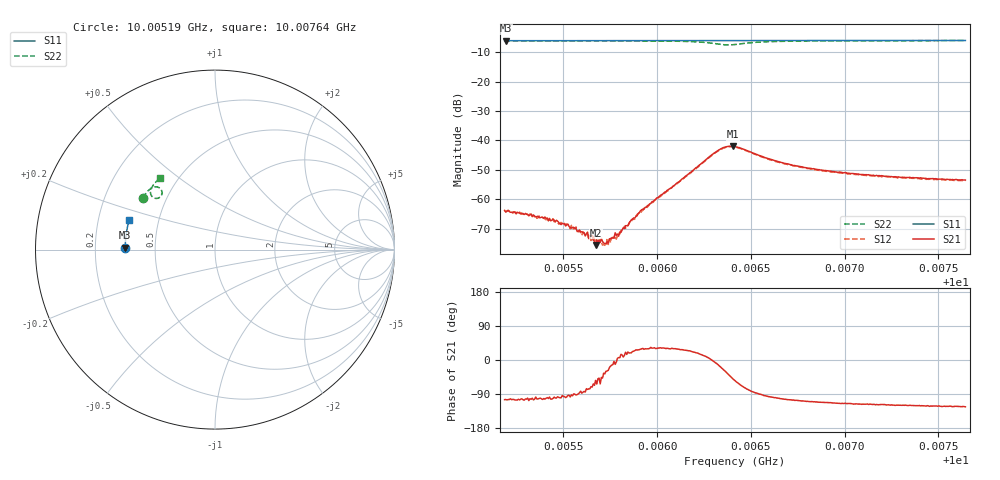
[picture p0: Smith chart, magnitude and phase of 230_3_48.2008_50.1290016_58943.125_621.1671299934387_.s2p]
#  HZ  S  RI  R  50.00
! Rohde & Schwarz Vector Network Analyzer
! Rohde-Schwarz,ZNB20-2Port,1311601062101988,3.16
! Created: UTC 3/20/2024, 11:46:19 AM
! freq[Hz]  re:S11  im:S11  re:S21  im:S21  re:S12  im:S12  re:S22  im:S22
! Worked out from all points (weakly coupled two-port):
!   401 points, 10.00519 GHz to 10.00764 GHz, reference 50 ohm
!   highest |S21| = -41.94 dB at 10.0064 GHz (marker M1); lowest = -75.6 dB at 10.00567 GHz (marker M2)
!   lowest |S11| = -6.0 dB at 10.00519 GHz (marker M3), VSWR 3.00, Z = 16.7 + j0.448 ohm
!   |S11| at or under -10 dB: nowhere
!   |S22| runs from -7.5 to -6.0 dB; largest |S21 - S12| = 0.00048
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1.0005187e10  -0.5 0.00973  -0.000162 -0.000623  -0.000137 -0.000614  -0.4023 0.2891
1.0005193e10  -0.4999 0.0101  -0.00015 -0.000585  -0.000129 -0.000604  -0.4021 0.2893
1.0005439e10  -0.4998 0.0262  -9.99e-05 -0.000426  -7.82e-05 -0.000448  -0.392 0.3039
1.0005556e10  -0.4997 0.0338  4.25e-06 -0.00033  1.46e-05 -0.00031  -0.3869 0.311
1.0005599e10  -0.4996 0.0366  1.22e-05 -0.000278  4.32e-05 -0.000238  -0.3847 0.3135
1.0005617e10  -0.4995 0.0378  2.21e-05 -0.000236  5.66e-05 -0.000262  -0.3838 0.3147
1.0005642e10  -0.4995 0.0393  5.86e-05 -0.000234  5.52e-05 -0.00022  -0.3826 0.3162
1.0005672e10  -0.4993 0.0413  9.8e-05 -0.000134  0.000114 -0.000147  -0.3811 0.3181
1.0005691e10  -0.4993 0.0425  0.000135 -0.00015  0.000125 -0.000156  -0.3802 0.3193
1.0005715e10  -0.4993 0.0441  0.000148 -0.000103  0.000145 -8.52e-05  -0.3789 0.3209
1.0005728e10  -0.4991 0.0449  0.000151 -8.65e-05  0.000145 -6.48e-05  -0.378 0.3217
1.0005789e10  -0.4988 0.0489  0.000254 2.05e-05  0.000242 2.06e-05  -0.3746 0.3256
1.0005893e10  -0.4982 0.0555  0.000466 0.000233  0.000488 0.000253  -0.3679 0.3325
1.000601e10  -0.4976 0.0631  0.000943 0.000578  0.000898 0.000585  -0.3579 0.3403
1.0006311e10  -0.4949 0.0825  0.00627 -0.00081  0.00619 -0.000466  -0.298 0.3302
1.000636e10  -0.4944 0.0854  0.00677 -0.00363  0.00677 -0.00328  -0.2977 0.3038
1.0006403e10  -0.494 0.0878  0.00522 -0.00606  0.00542 -0.00563  -0.3159 0.287
1.0006415e10  -0.4939 0.0886  0.00454 -0.00642  0.00479 -0.00605  -0.3224 0.2853
1.000663e10  -0.4924 0.1022  -0.000728 -0.00444  -0.000528 -0.00438  -0.3593 0.3265
1.0006827e10  -0.49 0.1149  -0.00111 -0.00309  -0.000964 -0.00311  -0.351 0.349
1.0007238e10  -0.4841 0.1408  -0.00117 -0.00214  -0.00105 -0.00216  -0.3299 0.3762
1.0007644e10  -0.477 0.1659  -0.00117 -0.00177  -0.00107 -0.00179  -0.3091 0.3964
